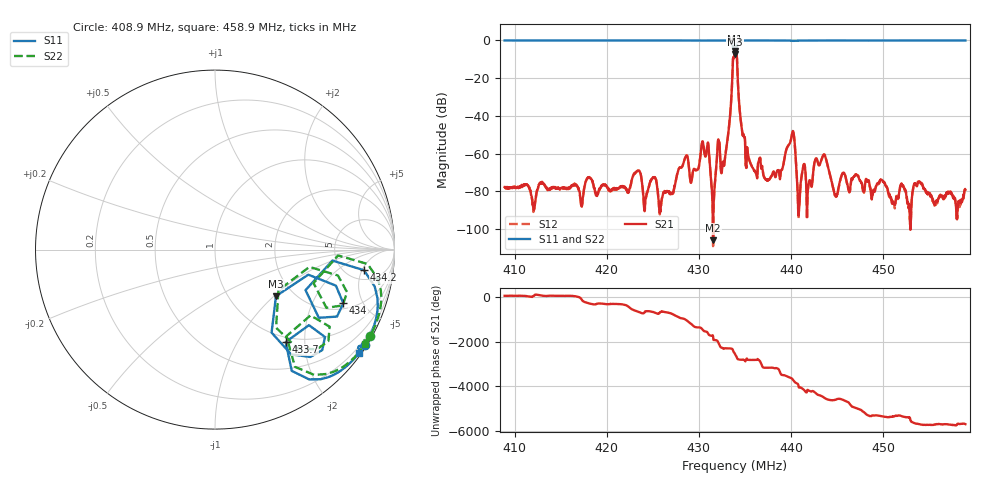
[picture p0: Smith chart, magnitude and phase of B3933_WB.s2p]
! Matrix data file written by TouchstoneData, EPCOS AG
! FILENAME: "LT70A_WB.s2p"
! COMMENT: "PCB: 2019; PINNING: 14; Ls=39nH; 25 Mar 2008"
! INFO: nport=2, nfreq=1601
! DATE: "Wed Apr  9 13:13:34 2008"
! USER: "Thomas Telgmann"
! port | pin | signal
!  1  |  1  |  in
!  2  |  4  |  out
# MHZ S MA R 50
! freq  magS11 angS11  magS21 angS21  magS12 angS12  magS22 angS22
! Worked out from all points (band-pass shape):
!   1601 points, 408.9 MHz to 458.9 MHz, reference 50 ohm
!   highest |S21| = -5.61 dB at 433.9 MHz (marker M1); lowest = -106.0 dB at 431.5 MHz (marker M2)
!   |S21| within 3 dB of the highest: 433.8389 MHz to 434.1193 MHz (280.4 kHz wide, 0.0646 % of centre)
!   lowest |S11| = -7.4 dB at 433.9 MHz (marker M3), VSWR 2.49, Z = 81.3 - j51.5 ohm
!   |S11| at or under -10 dB: nowhere
!   |S22| runs from -7.5 to -0.1 dB; largest |S21 - S12| = 0.001
!   S11 on the Smith chart (normalised r, x): 408.9 MHz: 0.07, -3.45; 433.7 MHz: 0.92, -1.63; 434 MHz: 2.34, -3.50; 434.2 MHz: 7.08, -5.47; 458.9 MHz: 0.06, -3.10
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408.92  0.9899 -32.3  0.0001297 57.8  0.0001266 59.2  0.9903 -29.1
417.2638  0.9892 -33.1  4.321e-05 -97.6  3.874e-05 -104.7  0.9897 -29.8
423.3888  0.9885 -33.7  0.0003503 70.8  0.000344 70.2  0.989 -30.4
425.6075  0.989 -34.0  6.321e-05 -31.7  6.43e-05 -26.4  0.9898 -30.6
430.42  0.9846 -34.9  0.002093 -30.5  0.002082 -30.2  0.9858 -31.5
431.545  0.9886 -35.6  5.018e-06 31.6  3.547e-06 -149.9  0.9892 -32.2
432.0763  0.9857 -36.2  0.002253 151.7  0.002254 152.1  0.9861 -32.9
432.92  0.9857 -38.1  0.001095 -136.6  0.001103 -136.7  0.9863 -34.8
433.7013  0.6484 -52.6  0.3131 131.4  0.313 131.5  0.6254 -50.5
433.92  0.4272 -37.3  0.5244 -33.8  0.524 -33.8  0.42 -32.7
434.0138  0.7751 -22.7  0.3899 -105.3  0.3894 -105.2  0.7733 -17.9
434.17  0.8382 -7.9  0.1935 117.2  0.1931 117.4  0.8539 -5.4
434.92  0.988 -30.0  0.002672 60.0  0.002659 60.1  0.9887 -26.6
436.0763  0.9891 -32.4  0.0003387 61.8  0.0003366 60.5  0.9899 -29.0
438.8888  0.987 -34.0  0.00034 152.3  0.0003251 151.1  0.9877 -30.5
440.1388  0.9677 -34.5  0.003639 -72.5  0.003639 -72.4  0.9683 -30.9
440.8575  0.9814 -33.7  3.003e-05 -100.0  3.697e-05 -97.3  0.9813 -30.2
442.2638  0.9861 -34.0  0.0001405 97.3  0.0001386 98.5  0.9862 -30.5
443.5763  0.9861 -34.1  0.0009562 173.6  0.0009522 173.5  0.987 -30.7
444.8263  0.9886 -34.4  8.215e-05 75.0  7.733e-05 76.4  0.9895 -30.9
450.6075  0.9879 -35.0  8.202e-05 19.1  8.42e-05 14.2  0.9886 -31.5
458.92  0.9881 -35.8  0.0001109 61.3  0.000106 64.8  0.9885 -32.2
